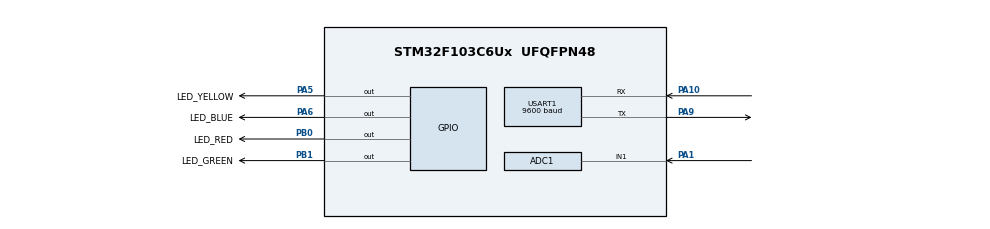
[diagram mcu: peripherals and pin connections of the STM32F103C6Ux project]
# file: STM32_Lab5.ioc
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ADC1.Channel-1\#ChannelRegularConversion=ADC_CHANNEL_1
ADC1.ContinuousConvMode=ENABLE
ADC1.EnableInjectedConversion=DISABLE
ADC1.EnableRegularConversion=ENABLE
ADC1.NbrOfConversion=1
ADC1.NbrOfConversionFlag=1
ADC1.Rank-1\#ChannelRegularConversion=1
ADC1.SamplingTime-1\#ChannelRegularConversion=ADC_SAMPLETIME_13CYCLES_5
ADC1.master=1
Mcu.Family=STM32F1
Mcu.Name=STM32F103C6Ux
Mcu.Package=UFQFPN48
NVIC.ADC1_2_IRQn=true\:0\:0\:false\:false\:true\:true\:true
NVIC.PriorityGroup=NVIC_PRIORITYGROUP_4
NVIC.RCC_IRQn=true\:0\:0\:false\:false\:true\:true\:false
NVIC.TIM2_IRQn=true\:0\:0\:false\:false\:true\:true\:true
NVIC.USART1_IRQn=true\:0\:0\:false\:false\:true\:true\:true
PA1.Signal=ADCx_IN1
PA10.Mode=Asynchronous
PA10.Signal=USART1_RX
PA5.GPIO_Label=LED_YELLOW
PA5.Signal=GPIO_Output
PA6.GPIO_Label=LED_BLUE
PA6.Signal=GPIO_Output
PA9.Mode=Asynchronous
PA9.Signal=USART1_TX
PB0.GPIO_Label=LED_RED
PB0.Signal=GPIO_Output
PB1.GPIO_Label=LED_GREEN
PB1.Signal=GPIO_Output
ProjectManager.HeapSize=0x200
ProjectManager.StackSize=0x400
ProjectManager.TargetToolchain=STM32CubeIDE
RCC.APB1Freq_Value=8000000
RCC.APB2Freq_Value=8000000
SH.ADCx_IN1.0=ADC1_IN1,IN1
TIM2.Period=9
TIM2.Prescaler=7999
USART1.BaudRate=9600
USART1.VirtualMode=VM_ASYNC
VP_SYS_VS_ND.Mode=No_Debug
VP_TIM2_VS_ClockSourceINT.Mode=Internal
board=custom

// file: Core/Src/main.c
/* USER CODE BEGIN Header */
/**
  ******************************************************************************
  * @file           : main.c
  * @brief          : Main program body
  ******************************************************************************
  * @attention
  *
  * <h2><center>&copy; Copyright (c) 2024 STMicroelectronics.
  * All rights reserved.</center></h2>
  *
  * This software component is licensed by ST under BSD 3-Clause license,
  * the "License"; You may not use this file except in compliance with the
  * License. You may obtain a copy of the License at:
  *                        opensource.org/licenses/BSD-3-Clause
  *
  ******************************************************************************
  */
/* USER CODE END Header */
#include "main.h"

/* USER CODE BEGIN Includes */
#include "string.h"
#include "stdio.h"
#include "global.h"
/* USER CODE END Includes */

ADC_HandleTypeDef hadc1;

TIM_HandleTypeDef htim2;

UART_HandleTypeDef huart1;

/* USER CODE BEGIN PV */
enum UART_State		UARTState = UART_IDLE;
enum CMD_State		CMDState = CMD_IDLE;
enum ERROR_State	ERRState = ERROR_IDLE;

uint8_t flag_OK = 0;
uint8_t is_RST = 0;
uint8_t is_OK = 0;
/* USER CODE END PV */

void SystemClock_Config(void);
static void MX_GPIO_Init(void);
static void MX_ADC1_Init(void);
static void MX_TIM2_Init(void);
static void MX_USART1_UART_Init(void);

int main(void)
{

  /* MCU Configuration--------------------------------------------------------*/

  /* Reset of all peripherals, Initializes the Flash interface and the Systick. */
  HAL_Init();

  /* Configure the system clock */
  SystemClock_Config();

  /* Initialize all configured peripherals */
  MX_GPIO_Init();
  MX_ADC1_Init();
  MX_TIM2_Init();
  MX_USART1_UART_Init();
  /* USER CODE BEGIN 2 */
  global_Init();
  /* USER CODE END 2 */

  /* Infinite loop */
  /* USER CODE BEGIN WHILE */
  while (1)
  {
	  if(TimerFlag1 == 1)
	  {
		  HAL_GPIO_TogglePin(LED_YELLOW_GPIO_Port, LED_YELLOW_Pin);
		  if (HAL_ADC_PollForConversion(&hadc1, HAL_MAX_DELAY) == HAL_OK) {
			  HAL_GPIO_TogglePin(LED_BLUE_GPIO_Port, LED_BLUE_Pin);
		  }
		  setTimerLed(500);
	  }
	  if(buffer_flag == 1)
	  {
		  command_praser_fsm();
		  buffer_flag = 0;
	  }
	  errorHandle();
	  uart_communication_fsm();
//	  HAL_GPIO_TogglePin(LED_YELLOW_GPIO_Port, LED_YELLOW_Pin);
//	  HAL_Delay(500);
    /* USER CODE END WHILE */

  }
}

void SystemClock_Config(void)
{
  RCC_OscInitTypeDef RCC_OscInitStruct = {0};
  RCC_ClkInitTypeDef RCC_ClkInitStruct = {0};
  RCC_PeriphCLKInitTypeDef PeriphClkInit = {0};

  /** Initializes the RCC Oscillators according to the specified parameters
  * in the RCC_OscInitTypeDef structure.
  */
  RCC_OscInitStruct.OscillatorType = RCC_OSCILLATORTYPE_HSI;
  RCC_OscInitStruct.HSIState = RCC_HSI_ON;
  RCC_OscInitStruct.HSICalibrationValue = RCC_HSICALIBRATION_DEFAULT;
  RCC_OscInitStruct.PLL.PLLState = RCC_PLL_NONE;
  if (HAL_RCC_OscConfig(&RCC_OscInitStruct) != HAL_OK)
  {
    Error_Handler();
  }
  /** Initializes the CPU, AHB and APB buses clocks
  */
  RCC_ClkInitStruct.ClockType = RCC_CLOCKTYPE_HCLK|RCC_CLOCKTYPE_SYSCLK
                              |RCC_CLOCKTYPE_PCLK1|RCC_CLOCKTYPE_PCLK2;
  RCC_ClkInitStruct.SYSCLKSource = RCC_SYSCLKSOURCE_HSI;
  RCC_ClkInitStruct.AHBCLKDivider = RCC_SYSCLK_DIV1;
  RCC_ClkInitStruct.APB1CLKDivider = RCC_HCLK_DIV1;
  RCC_ClkInitStruct.APB2CLKDivider = RCC_HCLK_DIV1;

  if (HAL_RCC_ClockConfig(&RCC_ClkInitStruct, FLASH_LATENCY_0) != HAL_OK)
  {
    Error_Handler();
  }
  PeriphClkInit.PeriphClockSelection = RCC_PERIPHCLK_ADC;
  PeriphClkInit.AdcClockSelection = RCC_ADCPCLK2_DIV2;
  if (HAL_RCCEx_PeriphCLKConfig(&PeriphClkInit) != HAL_OK)
  {
    Error_Handler();
  }
}

static void MX_ADC1_Init(void)
{

  ADC_ChannelConfTypeDef sConfig = {0};

  /** Common config
  */
  hadc1.Instance = ADC1;
  hadc1.Init.ScanConvMode = ADC_SCAN_DISABLE;
  hadc1.Init.ContinuousConvMode = ENABLE;
  hadc1.Init.DiscontinuousConvMode = DISABLE;
  hadc1.Init.ExternalTrigConv = ADC_SOFTWARE_START;
  hadc1.Init.DataAlign = ADC_DATAALIGN_RIGHT;
  hadc1.Init.NbrOfConversion = 1;
  if (HAL_ADC_Init(&hadc1) != HAL_OK)
  {
    Error_Handler();
  }
  /** Configure Regular Channel
  */
  sConfig.Channel = ADC_CHANNEL_1;
  sConfig.Rank = ADC_REGULAR_RANK_1;
  sConfig.SamplingTime = ADC_SAMPLETIME_13CYCLES_5;
  if (HAL_ADC_ConfigChannel(&hadc1, &sConfig) != HAL_OK)
  {
    Error_Handler();
  }

}

static void MX_TIM2_Init(void)
{

  TIM_ClockConfigTypeDef sClockSourceConfig = {0};
  TIM_MasterConfigTypeDef sMasterConfig = {0};

  htim2.Instance = TIM2;
  htim2.Init.Prescaler = 7999;
  htim2.Init.CounterMode = TIM_COUNTERMODE_UP;
  htim2.Init.Period = 9;
  htim2.Init.ClockDivision = TIM_CLOCKDIVISION_DIV1;
  htim2.Init.AutoReloadPreload = TIM_AUTORELOAD_PRELOAD_DISABLE;
  if (HAL_TIM_Base_Init(&htim2) != HAL_OK)
  {
    Error_Handler();
  }
  sClockSourceConfig.ClockSource = TIM_CLOCKSOURCE_INTERNAL;
  if (HAL_TIM_ConfigClockSource(&htim2, &sClockSourceConfig) != HAL_OK)
  {
    Error_Handler();
  }
  sMasterConfig.MasterOutputTrigger = TIM_TRGO_RESET;
  sMasterConfig.MasterSlaveMode = TIM_MASTERSLAVEMODE_DISABLE;
  if (HAL_TIMEx_MasterConfigSynchronization(&htim2, &sMasterConfig) != HAL_OK)
  {
    Error_Handler();
  }

}

static void MX_USART1_UART_Init(void)
{

  huart1.Instance = USART1;
  huart1.Init.BaudRate = 9600;
  huart1.Init.WordLength = UART_WORDLENGTH_8B;
  huart1.Init.StopBits = UART_STOPBITS_1;
  huart1.Init.Parity = UART_PARITY_NONE;
  huart1.Init.Mode = UART_MODE_TX_RX;
  huart1.Init.HwFlowCtl = UART_HWCONTROL_NONE;
  huart1.Init.OverSampling = UART_OVERSAMPLING_16;
  if (HAL_UART_Init(&huart1) != HAL_OK)
  {
    Error_Handler();
  }

}

static void MX_GPIO_Init(void)
{
  GPIO_InitTypeDef GPIO_InitStruct = {0};

  /* GPIO Ports Clock Enable */
  __HAL_RCC_GPIOA_CLK_ENABLE();
  __HAL_RCC_GPIOB_CLK_ENABLE();

  /*Configure GPIO pin Output Level */
  HAL_GPIO_WritePin(GPIOA, LED_YELLOW_Pin|LED_BLUE_Pin, GPIO_PIN_RESET);

  /*Configure GPIO pin Output Level */
  HAL_GPIO_WritePin(GPIOB, LED_RED_Pin|LED_GREEN_Pin, GPIO_PIN_RESET);

  /*Configure GPIO pins : LED_YELLOW_Pin LED_BLUE_Pin */
  GPIO_InitStruct.Pin = LED_YELLOW_Pin|LED_BLUE_Pin;
  GPIO_InitStruct.Mode = GPIO_MODE_OUTPUT_PP;
  GPIO_InitStruct.Pull = GPIO_NOPULL;
  GPIO_InitStruct.Speed = GPIO_SPEED_FREQ_LOW;
  HAL_GPIO_Init(GPIOA, &GPIO_InitStruct);

  /*Configure GPIO pins : LED_RED_Pin LED_GREEN_Pin */
  GPIO_InitStruct.Pin = LED_RED_Pin|LED_GREEN_Pin;
  GPIO_InitStruct.Mode = GPIO_MODE_OUTPUT_PP;
  GPIO_InitStruct.Pull = GPIO_NOPULL;
  GPIO_InitStruct.Speed = GPIO_SPEED_FREQ_LOW;
  HAL_GPIO_Init(GPIOB, &GPIO_InitStruct);

}

/* USER CODE BEGIN 4 */
void HAL_TIM_PeriodElapsedCallback(TIM_HandleTypeDef *htim)
{
	timer_run();
}
/* USER CODE END 4 */

void Error_Handler(void)
{
  __disable_irq();
  while (1)
  {
  }
}

/************************ (C) COPYRIGHT STMicroelectronics *****END OF FILE****/
